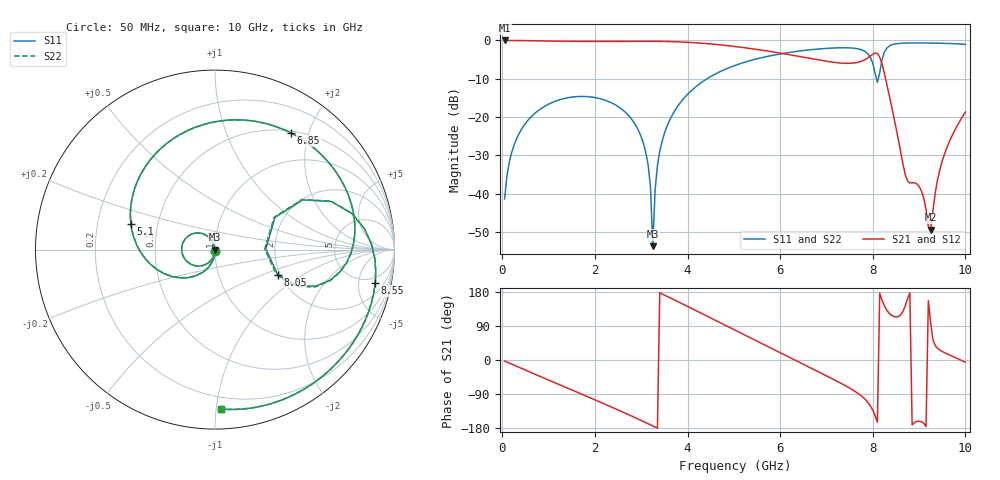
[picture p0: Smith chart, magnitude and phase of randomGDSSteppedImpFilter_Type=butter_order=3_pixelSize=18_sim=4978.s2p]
! freq	dB(S11)	phase(S11)	dB(S12)	phase(S12)
!  dB(S21)	phase(S21)	dB(S22)	phase(S22)
!S-par simulation data
#  GHz  S  DB  R 50
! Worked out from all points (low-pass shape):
!   200 points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, 50 MHz to 10 GHz, reference 50 ohm
!   highest |S21| = 0.00 dB at 50 MHz (marker M1); lowest = -49.4 dB at 9.25 GHz (marker M2)
!   |S21| within 3 dB of the highest: start of sweep to 5.848 GHz
!   lowest |S11| = -53.7 dB at 3.25 GHz (marker M3), VSWR 1.00, Z = 49.8 - j0.0382 ohm
!   |S11| at or under -10 dB: start of sweep to 4.421 GHz; 8.080412 GHz to 8.118938 GHz (38.53 MHz wide, 0.476 % of centre)
!   |S22| runs from -50.0 to -0.7 dB; largest |S21 - S12| = 0
!   S11 on the Smith chart (normalised r, x): 50 MHz: 1.00, -0.02; 5.1 GHz: 0.35, +0.13; 6.85 GHz: 0.53, +1.72; 8.05 GHz: 1.94, -0.63; 8.55 GHz: 3.69, -8.09; 10 GHz: 0.12, -1.03
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0.05  -41.35 -92.3  -0.00 -2.7  -0.00 -2.7  -41.35 -92.3
0.2  -29.36 -100.7  -0.01 -10.7  -0.01 -10.7  -29.36 -100.7
0.5  -21.67 -116.9  -0.05 -26.7  -0.05 -26.7  -21.67 -116.8
1.75  -14.62 177.1  -0.26 -92.0  -0.26 -92.0  -14.62 177.3
2.95  -23.74 113.0  -0.21 -156.8  -0.21 -156.8  -23.73 114.0
3.15  -32.60 103.3  -0.21 -168.2  -0.21 -168.2  -32.55 106.3
3.25  -53.71 -169.3  -0.22 -173.9  -0.22 -173.9  -50.04 -178.8
3.3  -39.02 -93.8  -0.23 -176.8  -0.23 -176.8  -38.87 -101.1
3.4  -28.97 -95.5  -0.24 177.3  -0.24 177.3  -28.96 -97.8
3.95  -14.71 -126.8  -0.45 144.5  -0.45 144.5  -14.72 -127.4
5.05  -6.41 166.3  -1.62 77.1  -1.62 77.1  -6.41 166.0
5.1  -6.20 163.2  -1.69 74.1  -1.69 74.1  -6.20 162.9
6.7  -2.37 66.0  -4.81 -23.5  -4.81 -23.5  -2.37 65.8
6.85  -2.21 57.0  -5.13 -32.6  -5.13 -32.6  -2.21 56.7
7.65  -2.12 6.3  -5.78 -85.5  -5.78 -85.5  -2.12 6.0
8.05  -8.50 -21.8  -3.29 -146.6  -3.29 -146.6  -8.58 -22.5
8.2  -5.02 29.6  -6.14 157.9  -6.14 157.9  -5.06 29.9
8.35  -1.50 7.8  -14.02 123.9  -14.02 123.9  -1.51 7.9
8.55  -0.80 -11.7  -25.76 114.5  -25.76 114.5  -0.80 -11.7
9.25  -0.68 -51.7  -49.41 97.3  -49.41 97.3  -0.68 -51.7
9.5  -0.74 -63.7  -31.50 22.5  -31.50 22.5  -0.74 -63.7
10  -1.02 -87.9  -18.68 -5.9  -18.68 -5.9  -1.02 -87.8
